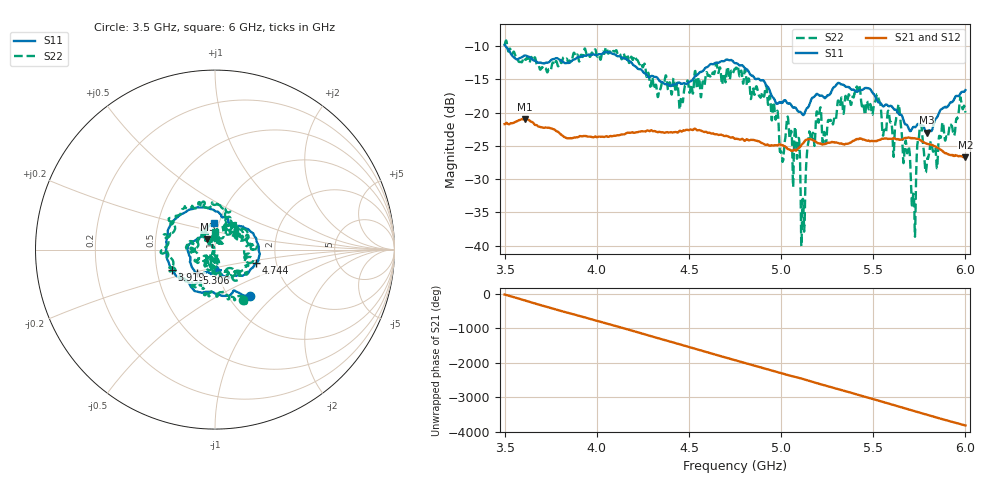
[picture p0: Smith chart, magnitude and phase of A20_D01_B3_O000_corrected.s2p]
! Created with skrf 1.9.0 (http://scikit-rf.org).
# Hz S RI R 50.0
!freq ReS11 ImS11 ReS21 ImS21 ReS12 ImS12 ReS22 ImS22
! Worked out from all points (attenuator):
!   1601 points, 3.5 GHz to 6 GHz, reference 50 ohm
!   highest |S21| = -20.97 dB at 3.611 GHz (marker M1); lowest = -26.7 dB at 6 GHz (marker M2)
!   lowest |S11| = -23.0 dB at 5.791 GHz (marker M3), VSWR 1.15, Z = 45.6 + j5.17 ohm
!   |S11| at or under -10 dB: 3.505 GHz to end of sweep
!   |S22| runs from -40.1 to -9.2 dB; largest |S21 - S12| = 0.0012
!   S11 on the Smith chart (normalised r, x): 3.5 GHz: 1.25, -0.72; 3.919 GHz: 0.60, -0.15; 4.744 GHz: 1.56, -0.25; 5.306 GHz: 0.79, -0.22; 6 GHz: 0.94, +0.28
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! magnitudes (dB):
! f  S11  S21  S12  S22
! 3.5 GHz  -9.8  -21.7  -21.7  -9.8
! 3.611 GHz  -11.4  -21.0  -21.0  -12.0
! 3.917 GHz  -11.6  -23.6  -23.6  -11.3
! 3.919 GHz  -11.6  -23.6  -23.6  -11.4
! 4.211 GHz  -13.1  -23.0  -23.0  -11.8
! 4.334 GHz  -15.0  -22.9  -22.9  -17.4
! 4.744 GHz  -12.4  -23.8  -23.8  -13.7
! 4.75 GHz  -12.6  -24.0  -23.9  -13.4
! 4.927 GHz  -16.1  -24.8  -24.8  -18.0
! 5.003 GHz  -18.5  -24.9  -24.9  -26.5
! 5.086 GHz  -19.6  -25.6  -25.6  -26.9
! 5.119 GHz  -20.3  -24.6  -24.6  -33.0
! 5.147 GHz  -19.2  -24.0  -24.0  -24.6
! 5.167 GHz  -17.8  -24.1  -24.1  -23.9
! 5.306 GHz  -15.6  -24.6  -24.5  -18.6
! 5.416 GHz  -16.8  -24.0  -24.0  -16.5
! 5.584 GHz  -19.0  -23.9  -23.9  -19.9
! 5.641 GHz  -20.3  -24.1  -24.0  -19.1
! 5.717 GHz  -22.2  -23.9  -23.8  -32.2
! 5.752 GHz  -21.8  -24.1  -24.0  -22.4
! 5.791 GHz  -23.0  -24.7  -24.6  -27.7
! 6 GHz  -16.6  -26.7  -26.7  -20.0
